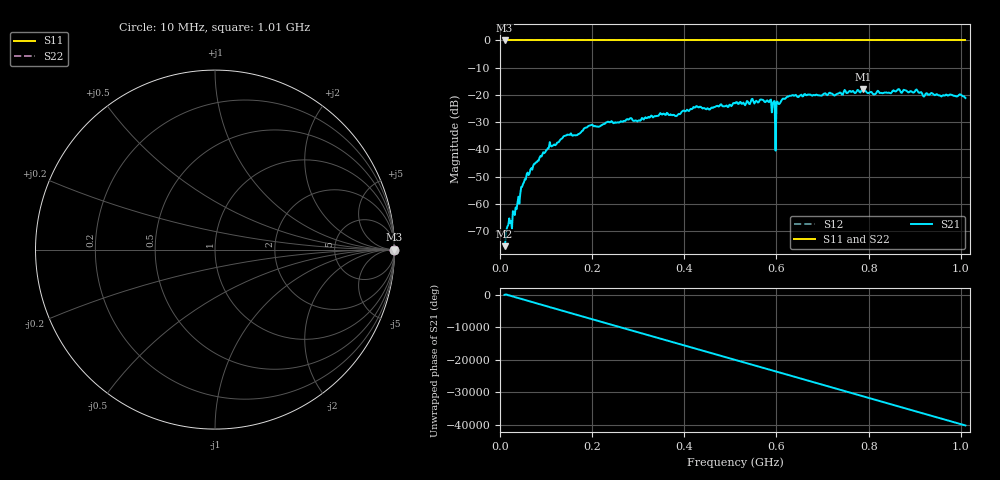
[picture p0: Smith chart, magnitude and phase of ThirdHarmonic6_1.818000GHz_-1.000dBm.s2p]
! 8/16/2025 10:02:07 PM
! C:\ANRITSUVNA\TEMP\TEMP.S2P
! CHANNEL.1
! TR.MEASUREMENT
! RAW.DATA
! RF.CORRECTION.OFF
! AVERAGING.OFF
! IF.BANDWIDTH: 5KHZ
! SWEEPTYPE:  FREQ.SWEEP(Linear)
! Reference Plane Port Info
! PORT:  PORT1  PORT2
! DISTANCE:  0  m  0  m
! TIME:  0  s  0  s
! PHASE.OFFSET:  0  deg.  0  deg.
! LOSS:  0  dB  0  dB
! REF.LOSS:  0  dB  0  dB
! REF.FREQ:  0  Hz  0  Hz
! Power Info
! POWER:  -20  dBm  -20  dBm
! EFF.POWER:  -20  dBm  -20  dBm
! SOURCE.ATTEN:  0  dB  0  dB
! TEST.ATTEN:  0  dB  0  dB
# GHZ S RI R 50.0
! FREQ.GHZ  S11RE  S11IM  S21RE  S21IM  S12RE  S12IM  S22RE  S22IM
!; PortSelection: Port_12
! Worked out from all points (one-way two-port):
!   501 points, 10 MHz to 1.01 GHz, reference 50 ohm
!   highest |S21| = -17.83 dB at 788 MHz (marker M1); lowest = -75.5 dB at 10 MHz (marker M2)
!   lowest |S11| = 0.0 dB at 10 MHz (marker M3)
!   |S11| at or under -10 dB: nowhere
!   |S22| runs from 0.0 to 0.0 dB; largest |S21 - S12| = 1.1
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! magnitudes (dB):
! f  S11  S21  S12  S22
! 10 MHz  0.0  -75.5  0.0  0.0
! 18 MHz  0.0  -67.8  0.0  0.0
! 28 MHz  0.0  -62.7  0.0  0.0
! 50 MHz  0.0  -52.7  0.0  0.0
! 70 MHz  0.0  -47.5  0.0  0.0
! 106 MHz  0.0  -39.4  0.0  0.0
! 142 MHz  0.0  -35.0  0.0  0.0
! 178 MHz  0.0  -33.2  0.0  0.0
! 196 MHz  0.0  -31.2  0.0  0.0
! 344 MHz  0.0  -27.7  0.0  0.0
! 510 MHz  0.0  -23.1  0.0  0.0
! 584 MHz  0.0  -22.7  0.0  0.0
! 592 MHz  0.0  -23.1  0.0  0.0
! 594 MHz  0.0  -22.4  0.0  0.0
! 602 MHz  0.0  -22.5  0.0  0.0
! 604 MHz  0.0  -23.3  0.0  0.0
! 626 MHz  0.0  -20.6  0.0  0.0
! 678 MHz  0.0  -20.3  0.0  0.0
! 788 MHz  0.0  -17.8  0.0  0.0
! 844 MHz  0.0  -19.2  0.0  0.0
! 904 MHz  0.0  -18.0  0.0  0.0
! 1.01 GHz  0.0  -21.1  0.0  0.0
